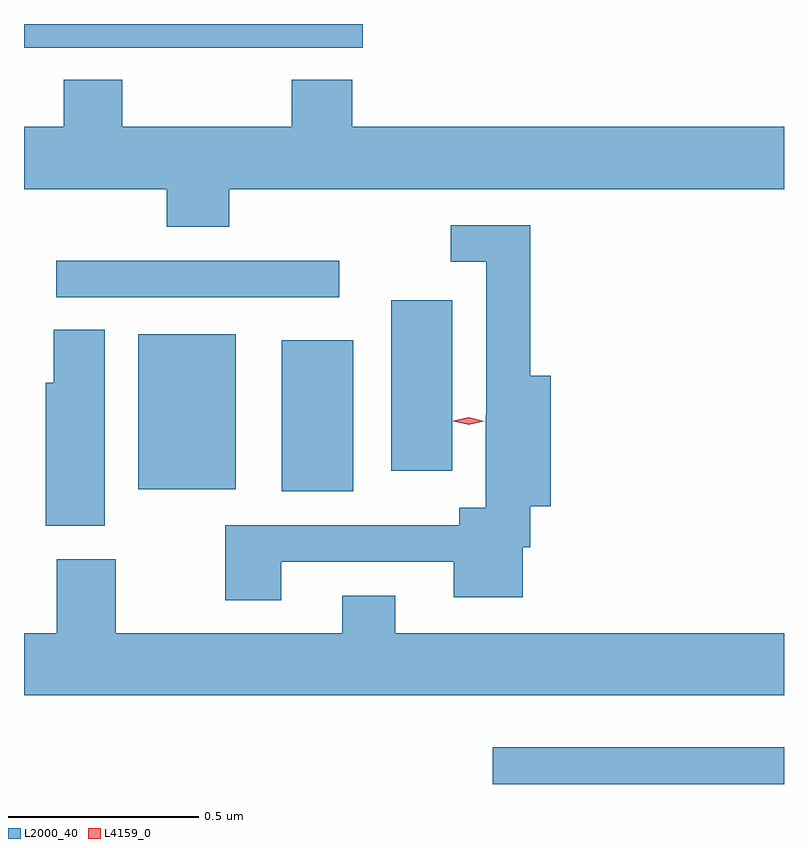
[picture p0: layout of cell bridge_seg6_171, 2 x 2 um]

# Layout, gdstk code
import gdstk
lib = gdstk.Library(unit=1e-6, precision=1e-09)
def R(c, l, rs):  # rectangles x0, y0, x1, y1
    for r in rs: c.add(gdstk.rectangle(r[:2], r[2:], *l))
def P(c, l, *ps):  # polygons
    for p in ps: c.add(gdstk.Polygon(p, *l))
L2000_40 = (2000, 40)
L4159_0 = (4159, 0)

bridge_seg6_171 = lib.new_cell('bridge_seg6_171')
R(bridge_seg6_171, L2000_40, [(482.868,916.467,483.634,916.564), (482.312,917.237,482.5,917.635), (481.934,917.243,482.191,917.65), (482.6,917.292,482.761,917.74), (481.719,917.748,482.464,917.844)])
P(bridge_seg6_171, L2000_40, [(482.275,918.405),(482.525,918.405),(482.525,918.467),(481.634,918.467),(481.634,918.405),(482.043,918.405),(482.043,918.404),(482.275,918.404)],
  [(482.174,918.032),(483.634,918.032),(483.634,918.196),(482.498,918.196),(482.498,918.32),(482.338,918.32),(482.338,918.196),(481.893,918.196),(481.893,918.32),(481.738,918.32),(481.738,918.196),(481.634,918.196),(481.634,918.032),(482.009,918.032),(482.009,917.933),(482.174,917.933)],
  [(482.311,917.052),(482.765,917.052),(482.765,916.958),(482.947,916.958),(482.947,917.09),(482.966,917.09),(482.966,917.198),(483.02,917.198),(483.02,917.542),(482.966,917.542),(482.966,917.937),(482.757,917.937),(482.757,917.841),(482.85,917.841),(482.85,917.438),(482.849,917.438),(482.849,917.194),(482.78,917.194),(482.78,917.148),(482.164,917.148),(482.164,916.95),(482.311,916.95)],
  [(481.846,917.663),(481.712,917.663),(481.712,917.523),(481.691,917.523),(481.691,917.147),(481.846,917.147)],
  [(483.634,916.864),(482.611,916.864),(482.611,916.963),(482.471,916.963),(482.471,916.864),(481.875,916.864),(481.875,917.059),(481.72,917.059),(481.72,916.864),(481.634,916.864),(481.634,916.7),(483.634,916.7)])
P(bridge_seg6_171, L4159_0, [(482.804,917.412),(482.764,917.422),(482.764,917.422),(482.764,917.423),(482.804,917.432),(482.845,917.422),(482.845,917.422),(482.845,917.422)])

lib.write_gds('bridge_seg6_171.gds')
